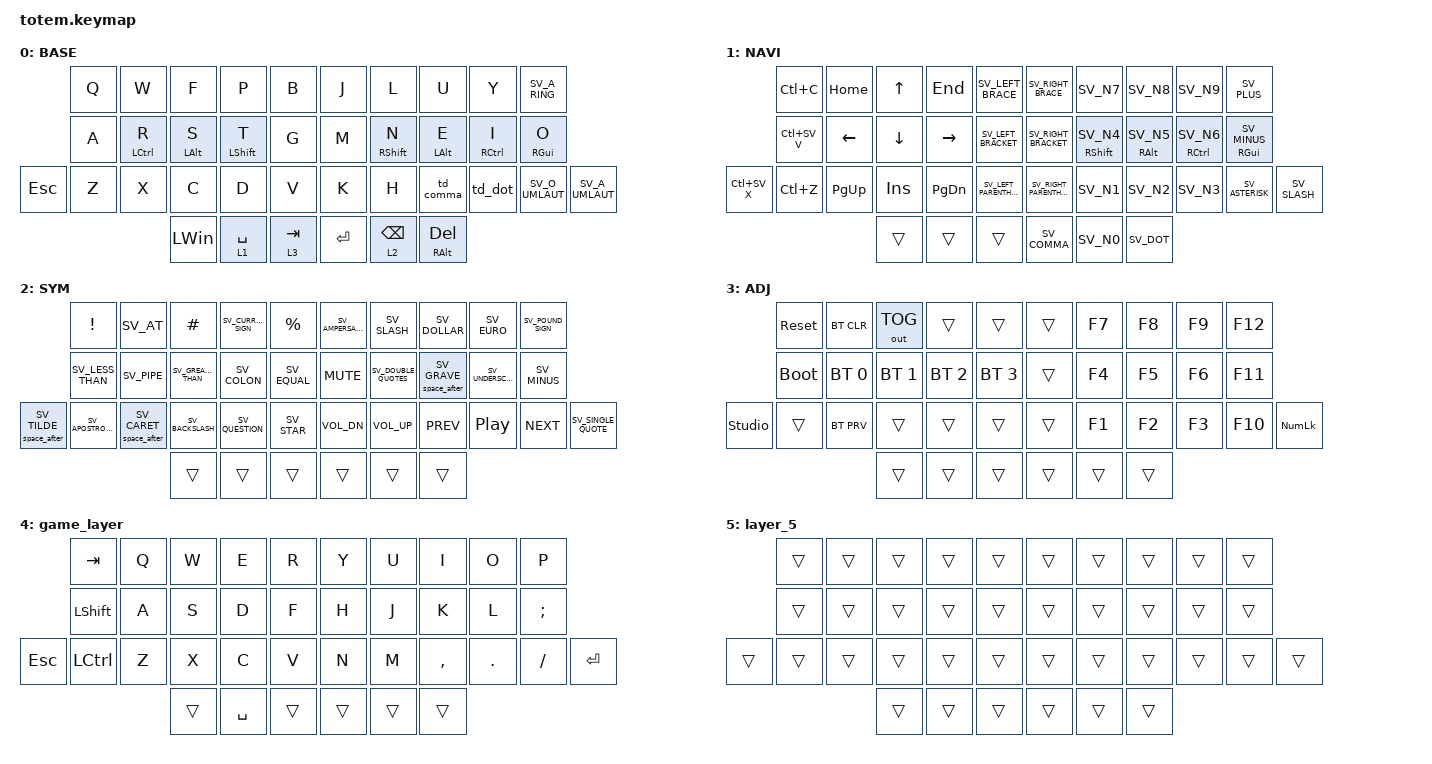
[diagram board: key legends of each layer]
//
//                                                        ▀▀▀▀▀     ▀▀▀▀▀          ▀▀█▀▀
//                                                        ▄▀▀▀▄  ▄  ▄▀▀▀▄  ▄  ▄▀▀▀▄  █  ▄▀▀▀▄
//                                                        █   █  █  █   █  █  █   █  █  █   █
//                                                         ▀▀▀   █   ▀▀▀   █   ▀▀▀   ▀   ▀▀▀
//                                                               █      ▄▄▄█▄▄▄    █   █  
//                                                               ▀      █  █  █     █▄█
//                                                             ▀▀▀▀▀    █  █  █      ▀
//                                                                      ▀  ▀  ▀
//
// ▄▄▄▄▄▄▄▄▄▄▄▄▄▄▄▄▄▄▄▄▄▄▄▄▄▄▄▄▄▄▄▄▄▄▄▄▄▄▄▄▄▄▄▄▄▄▄▄▄▄▄▄▄▄▄▄▄▄▄▄▄▄▄▄▄▄▄▄▄▄▄▄▄▄▄▄▄▄▄▄▄▄▄▄▄▄▄▄▄▄▄▄▄▄▄▄▄▄▄▄▄▄▄▄▄▄▄▄▄▄▄▄▄▄▄▄▄▄▄▄▄▄▄▄▄▄▄▄▄▄▄▄▄▄▄▄▄▄▄▄▄▄▄▄▄▄▄▄▄

#include "keys_sv.h"
#include <behaviors.dtsi>
#include <dt-bindings/zmk/bt.h>
#include <dt-bindings/zmk/keys.h>
#include <dt-bindings/zmk/outputs.h>

#define BASE 0
#define NAV  1
#define SYM  2
#define ADJ  3
#define TVP1 4
#define TVP2 5

&mt {
    quick-tap-ms = <300>;
    global-quick-tap;
    flavor = "tap-preferred";
    tapping-term-ms = <170>;
};

/ {
    combos {
        compatible = "zmk,combos";

        game {
            bindings = <&tog 4>;
            key-positions = <32 33 34>;
        };

        caps_word {
            bindings = <&caps_word>;
            key-positions = <13 16>;
        };
    };

    macros {
        gif: gif {
            label = "giphy";
            compatible = "zmk,behavior-macro";
            #binding-cells = <0>;
            bindings =
                <&macro_press>,
                <&kp LSHFT>,
                <&macro_tap>,
                <&kp N2>,
                <&macro_release>,
                <&kp LSHFT>,
                <&macro_tap>,
                <&kp G &kp I &kp F>;
        };

        space_after: space_after {
            compatible = "zmk,behavior-macro-one-param";
            #binding-cells = <1>;
            bindings =
                <&macro_param_1to1 &kp MACRO_PLACEHOLDER>,
                <&macro_tap>,
                <&kp SPACE>;

            label = "SPACE_AFTER";
        };

        dot_dot_dot: dot_dot_dot {
            compatible = "zmk,behavior-macro";
            #binding-cells = <0>;
            bindings = <&kp DOT &kp DOT &kp DOT>;
            label = "DOT_DOT_DOT";
        };
    };

    behaviors {
        mt_custom: mt_custom {
            compatible = "zmk,behavior-hold-tap";
            label = "MT_CUSTOM";
            bindings = <&kp>, <&kp>;

            #binding-cells = <2>;
            tapping-term-ms = <400>;
            flavor = "balanced";
            quick-tap-ms = <170>;
            require-prior-idle-ms = <150>;
        };

        td_dot: td_dot {
            compatible = "zmk,behavior-tap-dance";
            label = "TD_DOT";
            #binding-cells = <0>;
            bindings = <&kp SV_DOT>, <&kp SV_COLON>, <&dot_dot_dot>;
        };

        td_comma: td_comma {
            compatible = "zmk,behavior-tap-dance";
            label = "TD_COMMA";
            #binding-cells = <0>;
            bindings = <&kp SV_COMMA>, <&kp SV_SEMI>;
        };
    };

    keymap {
        compatible = "zmk,keymap";

        // ▄▄▄▄▄▄▄▄▄▄▄▄▄▄▄▄▄▄▄▄▄▄▄▄▄▄▄▄▄▄▄▄▄▄▄▄▄▄▄▄▄▄▄▄▄▄▄▄▄▄▄▄▄▄▄▄▄▄▄▄▄▄▄▄▄▄▄▄▄▄▄▄▄▄▄▄▄▄▄▄▄▄▄▄▄▄▄▄▄▄▄▄▄▄▄▄▄▄▄▄▄▄▄▄▄▄▄▄▄▄▄▄▄▄▄▄▄▄▄▄▄▄▄▄▄▄▄▄▄▄▄▄▄▄▄▄▄▄▄▄▄▄▄▄▄▄▄▄▄

        base_layer {
            // ┏━━━━━━━━━━━━━━━━━━━━━━━━━━━━━━━━━━━━━━━┓

            label = "BASE";

            // ┗━━━━━━━━━━━━━━━━━━━━━━━━━━━━━━━━━━━━━━━┛
            //             ┏━━━━━━━━━━━┳━━━━━━━━━━━┳━━━━━━━━━━━┳━━━━━━━━━━━┳━━━━━━━━━━━┓   ┏━━━━━━━━━━━┳━━━━━━━━━━━┳━━━━━━━━━━━┳━━━━━━━━━━━┳━━━━━━━━━━━┓
            //             ┃     Q     ┃     W     ┃     F     ┃     P     ┃     G     ┃   ┃     J     ┃     L     ┃     U     ┃     Y     ┃     ;     ┃
            //             ┣━━━━━━━━━━━╋━━━━━━━━━━━╋━━━━━━━━━━━╋━━━━━━━━━━━╋━━━━━━━━━━━┫   ┣━━━━━━━━━━━╋━━━━━━━━━━━╋━━━━━━━━━━━╋━━━━━━━━━━━╋━━━━━━━━━━━┫
            //             ┃     A     ┃     R     ┃     S     ┃     T     ┃     D     ┃   ┃     H     ┃     N     ┃     E     ┃     I     ┃     O     ┃
            // ┏━━━━━━━━━━━╋━━━━━━━━━━━╋━━━━━━━━━━━╋━━━━━━━━━━━╋━━━━━━━━━━━╋━━━━━━━━━━━┫   ┣━━━━━━━━━━━╋━━━━━━━━━━━╋━━━━━━━━━━━╋━━━━━━━━━━━╋━━━━━━━━━━━╋━━━━━━━━━━━┓
            // ┃     Q     ┃     Z     ┃     X     ┃     C     ┃     V     ┃     B     ┃   ┃     K     ┃     M     ┃     ,     ┃     .     ┃     /     ┃     \     ┃
            // ┗━━━━━━━━━━━┻━━━━━━━━━━━┻━━━━━━━━━━━╋━━━━━━━━━━━╋━━━━━━━━━━━╋━━━━━━━━━━━┫   ┣━━━━━━━━━━━╋━━━━━━━━━━━╋━━━━━━━━━━━╋━━━━━━━━━━━┻━━━━━━━━━━━┻━━━━━━━━━━━┛
            //                                     ┃    DEL    ┃    TAB    ┃    SPC    ┃   ┃   ENTER   ┃           ┃   BSPC    ┃
            //                                     ┗━━━━━━━━━━━┻━━━━━━━━━━━┻━━━━━━━━━━━┛   ┗━━━━━━━━━━━┻━━━━━━━━━━━┻━━━━━━━━━━━┛

            bindings = <
         &kp Q  &kp W                      &kp F                  &kp P                    &kp B        &kp J    &kp L                     &kp U                        &kp Y                       &kp SV_A_RING
         &kp A  &mt_custom LEFT_CONTROL R  &mt_custom LEFT_ALT S  &mt_custom LEFT_SHIFT T  &kp G        &kp M    &mt_custom RIGHT_SHIFT N  &mt_custom LEFT_ALT E        &mt_custom RIGHT_CONTROL I  &mt_custom RIGHT_GUI O
&kp ESC  &kp Z  &kp X                      &kp C                  &kp D                    &kp V        &kp K    &kp H                     &td_comma                    &td_dot                     &kp SV_O_UMLAUT         &kp SV_A_UMLAUT
                                           &kp LEFT_WIN           &lt 1 SPACE              &lt 3 TAB    &kp RET  &lt 2 BACKSPACE           &mt_custom RIGHT_ALT DELETE
            >;
        };

        // ▄▄▄▄▄▄▄▄▄▄▄▄▄▄▄▄▄▄▄▄▄▄▄▄▄▄▄▄▄▄▄▄▄▄▄▄▄▄▄▄▄▄▄▄▄▄▄▄▄▄▄▄▄▄▄▄▄▄▄▄▄▄▄▄▄▄▄▄▄▄▄▄▄▄▄▄▄▄▄▄▄▄▄▄▄▄▄▄▄▄▄▄▄▄▄▄▄▄▄▄▄▄▄▄▄▄▄▄▄▄▄▄▄▄▄▄▄▄▄▄▄▄▄▄▄▄▄▄▄▄▄▄▄▄▄▄▄▄▄▄▄▄▄▄▄▄▄▄▄

        nav_layer {
            // ┏━━━━━━━━━━━━━━━━━━━━━━━━━━━━━━━━━━━━━━━┓

            label = "NAVI";

            // ┗━━━━━━━━━━━━━━━━━━━━━━━━━━━━━━━━━━━━━━━┛
            //             ┏━━━━━━━━━━━┳━━━━━━━━━━━┳━━━━━━━━━━━┳━━━━━━━━━━━┳━━━━━━━━━━━┓   ┏━━━━━━━━━━━┳━━━━━━━━━━━┳━━━━━━━━━━━┳━━━━━━━━━━━┳━━━━━━━━━━━┓
            //             ┃           ┃           ┃     UP    ┃           ┃     {     ┃   ┃     }     ┃     7     ┃     8     ┃     9     ┃     +     ┃
            //             ┣━━━━━━━━━━━╋━━━━━━━━━━━╋━━━━━━━━━━━╋━━━━━━━━━━━╋━━━━━━━━━━━┫   ┣━━━━━━━━━━━╋━━━━━━━━━━━╋━━━━━━━━━━━╋━━━━━━━━━━━╋━━━━━━━━━━━┫
            //             ┃   SHIFT   ┃   LEFT    ┃    DOWN   ┃   RIGHT   ┃     [     ┃   ┃     ]     ┃     4     ┃     5     ┃     6     ┃     -     ┃
            // ┏━━━━━━━━━━━╋━━━━━━━━━━━╋━━━━━━━━━━━╋━━━━━━━━━━━╋━━━━━━━━━━━╋━━━━━━━━━━━┫   ┣━━━━━━━━━━━╋━━━━━━━━━━━╋━━━━━━━━━━━╋━━━━━━━━━━━╋━━━━━━━━━━━╋━━━━━━━━━━━┓
            // ┃           ┃           ┃   P UP    ┃  C LOCK   ┃  P DOWN   ┃     (     ┃   ┃     )     ┃     1     ┃     2     ┃     3     ┃     *     ┃           ┃
            // ┗━━━━━━━━━━━┻━━━━━━━━━━━┻━━━━━━━━━━━╋━━━━━━━━━━━╋━━━━━━━━━━━╋━━━━━━━━━━━┫   ┣━━━━━━━━━━━╋━━━━━━━━━━━╋━━━━━━━━━━━╋━━━━━━━━━━━┻━━━━━━━━━━━┻━━━━━━━━━━━┛
            //                                     ┃           ┃    TAB    ┃    SPC    ┃   ┃    DEL    ┃     0     ┃           ┃
            //                                     ┗━━━━━━━━━━━┻━━━━━━━━━━━┻━━━━━━━━━━━┛   ┗━━━━━━━━━━━┻━━━━━━━━━━━┻━━━━━━━━━━━┛

            bindings = <
              &kp LC(C)     &kp HOME   &kp UP    &kp END    &kp SV_LEFT_BRACE          &kp SV_RIGHT_BRACE        &kp SV_N7              &kp SV_N8            &kp SV_N9                &kp SV_PLUS
              &kp LC(SV_V)  &kp LEFT   &kp DOWN  &kp RIGHT  &kp SV_LEFT_BRACKET        &kp SV_RIGHT_BRACKET      &mt RIGHT_SHIFT SV_N4  &mt RIGHT_ALT SV_N5  &mt RIGHT_CONTROL SV_N6  &mt RIGHT_GUI SV_MINUS
&kp LC(SV_X)  &kp LC(Z)     &kp PG_UP  &kp INS   &kp PG_DN  &kp SV_LEFT_PARENTHESIS    &kp SV_RIGHT_PARENTHESIS  &kp SV_N1              &kp SV_N2            &kp SV_N3                &kp SV_ASTERISK         &kp SV_SLASH
                                       &trans    &trans     &trans                     &kp SV_COMMA              &kp SV_N0              &kp SV_DOT
            >;
        };

        // ▄▄▄▄▄▄▄▄▄▄▄▄▄▄▄▄▄▄▄▄▄▄▄▄▄▄▄▄▄▄▄▄▄▄▄▄▄▄▄▄▄▄▄▄▄▄▄▄▄▄▄▄▄▄▄▄▄▄▄▄▄▄▄▄▄▄▄▄▄▄▄▄▄▄▄▄▄▄▄▄▄▄▄▄▄▄▄▄▄▄▄▄▄▄▄▄▄▄▄▄▄▄▄▄▄▄▄▄▄▄▄▄▄▄▄▄▄▄▄▄▄▄▄▄▄▄▄▄▄▄▄▄▄▄▄▄▄▄▄▄▄▄▄▄▄▄▄▄▄

        sim_layer {
            // ┏━━━━━━━━━━━━━━━━━━━━━━━━━━━━━━━━━━━━━━━┓

            label = "SYM";

            // ┗━━━━━━━━━━━━━━━━━━━━━━━━━━━━━━━━━━━━━━━┛
            //             ┏━━━━━━━━━━━┳━━━━━━━━━━━┳━━━━━━━━━━━┳━━━━━━━━━━━┳━━━━━━━━━━━┓   ┏━━━━━━━━━━━┳━━━━━━━━━━━┳━━━━━━━━━━━┳━━━━━━━━━━━┳━━━━━━━━━━━┓
            //             ┃     !     ┃     @     ┃     #     ┃     $     ┃     %     ┃   ┃     ˆ     ┃     &     ┃     Ü     ┃     '     ┃     "     ┃
            //             ┣━━━━━━━━━━━╋━━━━━━━━━━━╋━━━━━━━━━━━╋━━━━━━━━━━━╋━━━━━━━━━━━┫   ┣━━━━━━━━━━━╋━━━━━━━━━━━╋━━━━━━━━━━━╋━━━━━━━━━━━╋━━━━━━━━━━━┫
            //             ┃     Ä     ┃           ┃    SZ     ┃           ┃           ┃   ┃   MUTE    ┃   YEN     ┃   EURO    ┃  POUND    ┃     Ö     ┃
            // ┏━━━━━━━━━━━╋━━━━━━━━━━━╋━━━━━━━━━━━╋━━━━━━━━━━━╋━━━━━━━━━━━╋━━━━━━━━━━━┫   ┣━━━━━━━━━━━╋━━━━━━━━━━━╋━━━━━━━━━━━╋━━━━━━━━━━━╋━━━━━━━━━━━╋━━━━━━━━━━━┓
            // ┃           ┃  EMAIL1   ┃  EMAIL2   ┃           ┃           ┃           ┃   ┃   VOL-    ┃   VOL+    ┃   LAST    ┃   NEXT    ┃     \     ┃           ┃
            // ┗━━━━━━━━━━━┻━━━━━━━━━━━┻━━━━━━━━━━━╋━━━━━━━━━━━╋━━━━━━━━━━━╋━━━━━━━━━━━┫   ┣━━━━━━━━━━━╋━━━━━━━━━━━╋━━━━━━━━━━━╋━━━━━━━━━━━┻━━━━━━━━━━━┻━━━━━━━━━━━┛
            //                                     ┃           ┃    GIF    ┃    ADJ    ┃   ┃           ┃           ┃           ┃
            //                                     ┗━━━━━━━━━━━┻━━━━━━━━━━━┻━━━━━━━━━━━┛   ┗━━━━━━━━━━━┻━━━━━━━━━━━┻━━━━━━━━━━━┛

            bindings = <
                       &kp EXCL           &kp SV_AT              &kp HASH             &kp SV_CURRENCY_SIGN  &kp PRCNT       &kp SV_AMPERSAND  &kp SV_SLASH          &kp SV_DOLLAR          &kp SV_EURO        &kp SV_POUND_SIGN
                       &kp SV_LESS_THAN   &kp SV_PIPE            &kp SV_GREATER_THAN  &kp SV_COLON          &kp SV_EQUAL    &kp C_MUTE        &kp SV_DOUBLE_QUOTES  &space_after SV_GRAVE  &kp SV_UNDERSCORE  &kp SV_MINUS
&space_after SV_TILDE  &kp SV_APOSTROPHE  &space_after SV_CARET  &kp SV_BACKSLASH     &kp SV_QUESTION       &kp SV_STAR     &kp C_VOL_DN      &kp C_VOL_UP          &kp C_PREV             &kp C_PLAY_PAUSE   &kp C_NEXT         &kp SV_SINGLE_QUOTE
                                                                 &trans               &trans                &trans          &trans            &trans                &trans
            >;
        };

        // ▄▄▄▄▄▄▄▄▄▄▄▄▄▄▄▄▄▄▄▄▄▄▄▄▄▄▄▄▄▄▄▄▄▄▄▄▄▄▄▄▄▄▄▄▄▄▄▄▄▄▄▄▄▄▄▄▄▄▄▄▄▄▄▄▄▄▄▄▄▄▄▄▄▄▄▄▄▄▄▄▄▄▄▄▄▄▄▄▄▄▄▄▄▄▄▄▄▄▄▄▄▄▄▄▄▄▄▄▄▄▄▄▄▄▄▄▄▄▄▄▄▄▄▄▄▄▄▄▄▄▄▄▄▄▄▄▄▄▄▄▄▄▄▄▄▄▄▄▄

        adjust_layer {
            // ┏━━━━━━━━━━━━━━━━━━━━━━━━━━━━━━━━━━━━━━━┓

            label = "ADJ";

            // ┗━━━━━━━━━━━━━━━━━━━━━━━━━━━━━━━━━━━━━━━┛
            //             ┏━━━━━━━━━━━┳━━━━━━━━━━━┳━━━━━━━━━━━┳━━━━━━━━━━━┳━━━━━━━━━━━┓   ┏━━━━━━━━━━━┳━━━━━━━━━━━┳━━━━━━━━━━━┳━━━━━━━━━━━┳━━━━━━━━━━━┓
            //             ┃   RESET   ┃ BT CLEAR  ┃  OUT TOG  ┃           ┃           ┃   ┃           ┃    F7     ┃    F8     ┃    F9     ┃    F12    ┃
            //             ┣━━━━━━━━━━━╋━━━━━━━━━━━╋━━━━━━━━━━━╋━━━━━━━━━━━╋━━━━━━━━━━━┫   ┣━━━━━━━━━━━╋━━━━━━━━━━━╋━━━━━━━━━━━╋━━━━━━━━━━━╋━━━━━━━━━━━┫
            //             ┃ BOOTLOAD  ┃ BT NEXT   ┃           ┃           ┃           ┃   ┃           ┃    F4     ┃    F5     ┃    F6     ┃    F11    ┃
            // ┏━━━━━━━━━━━╋━━━━━━━━━━━╋━━━━━━━━━━━╋━━━━━━━━━━━╋━━━━━━━━━━━╋━━━━━━━━━━━┫   ┣━━━━━━━━━━━╋━━━━━━━━━━━╋━━━━━━━━━━━╋━━━━━━━━━━━╋━━━━━━━━━━━╋━━━━━━━━━━━┓
            // ┃           ┃           ┃ BT PREV   ┃           ┃           ┃           ┃   ┃           ┃    F1     ┃    F2     ┃    F3     ┃    F10    ┃           ┃
            // ┗━━━━━━━━━━━┻━━━━━━━━━━━┻━━━━━━━━━━━╋━━━━━━━━━━━╋━━━━━━━━━━━╋━━━━━━━━━━━┫   ┣━━━━━━━━━━━╋━━━━━━━━━━━╋━━━━━━━━━━━╋━━━━━━━━━━━┻━━━━━━━━━━━┻━━━━━━━━━━━┛
            //                                     ┃           ┃           ┃           ┃   ┃           ┃           ┃           ┃
            //                                     ┗━━━━━━━━━━━┻━━━━━━━━━━━┻━━━━━━━━━━━┛   ┗━━━━━━━━━━━┻━━━━━━━━━━━┻━━━━━━━━━━━┛

            bindings = <
                &sys_reset   &bt BT_CLR    &out OUT_TOG  &trans        &trans          &trans  &kp F7  &kp F8  &kp F9  &kp F12
                &bootloader  &bt BT_SEL 0  &bt BT_SEL 1  &bt BT_SEL 2  &bt BT_SEL 3    &trans  &kp F4  &kp F5  &kp F6  &kp F11
&studio_unlock  &trans       &bt BT_PRV    &trans        &trans        &trans          &trans  &kp F1  &kp F2  &kp F3  &kp F10  &kp KP_NUMLOCK
                                           &trans        &trans        &trans          &trans  &trans  &trans
            >;
        };

        // ▄▄▄▄▄▄▄▄▄▄▄▄▄▄▄▄▄▄▄▄▄▄▄▄▄▄▄▄▄▄▄▄▄▄▄▄▄▄▄▄▄▄▄▄▄▄▄▄▄▄▄▄▄▄▄▄▄▄▄▄▄▄▄▄▄▄▄▄▄▄▄▄▄▄▄▄▄▄▄▄▄▄▄▄▄▄▄▄▄▄▄▄▄▄▄▄▄▄▄▄▄▄▄▄▄▄▄▄▄▄▄▄▄▄▄▄▄▄▄▄▄▄▄▄▄▄▄▄▄▄▄▄▄▄▄▄▄▄▄▄▄▄▄▄▄▄▄▄▄
        // ▄▄▄▄▄▄▄▄▄▄▄▄▄▄▄▄▄▄▄▄▄▄▄▄▄▄▄▄▄▄▄▄▄▄▄▄▄▄▄▄▄▄▄▄▄▄▄▄▄▄▄▄▄▄▄▄▄▄▄▄▄▄▄▄▄▄▄▄▄▄▄▄▄▄▄▄▄▄▄▄▄▄▄▄▄▄▄▄▄▄▄▄▄▄▄▄▄▄▄▄▄▄▄▄▄▄▄▄▄▄▄▄▄▄▄▄▄▄▄▄▄▄▄▄▄▄▄▄▄▄▄▄▄▄▄▄▄▄▄▄▄▄▄▄▄▄▄▄▄

        game_layer {
            bindings = <
         &kp TAB    &kp Q  &kp W   &kp E      &kp R     &kp Y   &kp U   &kp I      &kp O    &kp P
         &kp LSHFT  &kp A  &kp S   &kp D      &kp F     &kp H   &kp J   &kp K      &kp L    &kp SEMI
&kp ESC  &kp LCTRL  &kp Z  &kp X   &kp C      &kp V     &kp N   &kp M   &kp COMMA  &kp DOT  &kp FSLH  &kp ENTER
                           &trans  &kp SPACE  &trans    &trans  &trans  &trans
            >;
        };

        layer_5 {
            bindings = <
        &trans  &trans  &trans  &trans  &trans    &trans  &trans  &trans  &trans  &trans
        &trans  &trans  &trans  &trans  &trans    &trans  &trans  &trans  &trans  &trans
&trans  &trans  &trans  &trans  &trans  &trans    &trans  &trans  &trans  &trans  &trans  &trans
                        &trans  &trans  &trans    &trans  &trans  &trans
            >;
        };
    };
};
